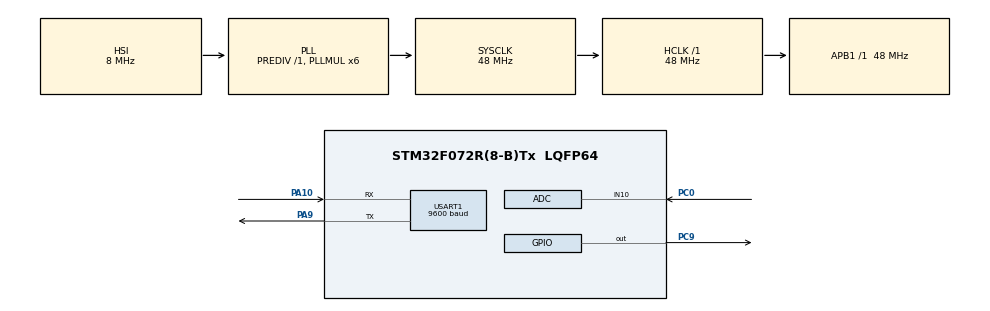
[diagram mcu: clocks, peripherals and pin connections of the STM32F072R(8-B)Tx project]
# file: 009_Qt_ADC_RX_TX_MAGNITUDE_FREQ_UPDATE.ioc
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ADC.ContinuousConvMode=ENABLE
ADC.DMAContinuousRequests=ENABLE
ADC.SamplingTime=ADC_SAMPLETIME_71CYCLES_5
Dma.ADC.0.Direction=DMA_PERIPH_TO_MEMORY
Dma.ADC.0.Instance=DMA1_Channel1
Dma.ADC.0.MemDataAlignment=DMA_MDATAALIGN_HALFWORD
Dma.ADC.0.MemInc=DMA_MINC_ENABLE
Dma.ADC.0.Mode=DMA_CIRCULAR
Dma.ADC.0.PeriphDataAlignment=DMA_PDATAALIGN_HALFWORD
Dma.ADC.0.PeriphInc=DMA_PINC_DISABLE
Dma.ADC.0.Priority=DMA_PRIORITY_LOW
Dma.Request0=ADC
Mcu.Family=STM32F0
Mcu.Name=STM32F072R(8-B)Tx
Mcu.Package=LQFP64
NVIC.ADC1_COMP_IRQn=true\:2\:0\:true\:false\:true\:true\:true\:true
NVIC.DMA1_Channel1_IRQn=true\:0\:0\:true\:false\:true\:false\:true\:true
NVIC.TIM6_DAC_IRQn=true\:0\:0\:false\:false\:true\:true\:true\:true
NVIC.USART1_IRQn=true\:1\:0\:true\:false\:true\:true\:true\:true
PA10.Mode=Asynchronous
PA10.Signal=USART1_RX
PA13.Mode=Serial_Wire
PA13.Signal=SYS_SWDIO
PA14.Mode=Serial_Wire
PA14.Signal=SYS_SWCLK
PA9.Mode=Asynchronous
PA9.Signal=USART1_TX
PC0.Mode=IN10
PC0.Signal=ADC_IN10
PC9.Signal=GPIO_Output
PF0-OSC_IN.Mode=HSE-External-Oscillator
PF0-OSC_IN.Signal=RCC_OSC_IN
PF1-OSC_OUT.Mode=HSE-External-Oscillator
PF1-OSC_OUT.Signal=RCC_OSC_OUT
ProjectManager.HeapSize=0x200
ProjectManager.StackSize=0x400
ProjectManager.TargetToolchain=STM32CubeIDE
RCC.AHBFreq_Value=48000000
RCC.APB1Freq_Value=48000000
RCC.APB1TimFreq_Value=48000000
RCC.HCLKFreq_Value=48000000
RCC.PLLMUL=RCC_PLL_MUL6
RCC.SYSCLKFreq_VALUE=48000000
RCC.SYSCLKSource=RCC_SYSCLKSOURCE_PLLCLK
TIM6.Period=47000
USART1.BaudRate=9600
USART1.VirtualMode-Asynchronous=VM_ASYNC
VP_TIM6_VS_ClockSourceINT.Mode=Enable_Timer
board=STM32F072B-DISCO

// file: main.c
/* USER CODE BEGIN Header */
/**
  ******************************************************************************
  * @file           : main.c
  * @brief          : Main program body
  ******************************************************************************
  * @attention
  *
  * Copyright (c) 2023 STMicroelectronics.
  * All rights reserved.
  *
  * This software is licensed under terms that can be found in the LICENSE file
  * in the root directory of this software component.
  * If no LICENSE file comes with this software, it is provided AS-IS.
  *
  ******************************************************************************
  */
/* USER CODE END Header */
#include "main.h"

/* USER CODE BEGIN Includes */
#include <stdio.h>
#include <string.h>
/* USER CODE END Includes */

ADC_HandleTypeDef hadc;
DMA_HandleTypeDef hdma_adc;

TIM_HandleTypeDef htim6;

UART_HandleTypeDef huart1;

/* USER CODE BEGIN PV */

#define ADC_MIN_VALUE 0
#define ADC_MAX_VALUE 4095
#define MAX_BUFFER_SIZE 50

uint16_t adcValue;
uint16_t adcBuffer[5];

uint8_t rx_buffer[MAX_BUFFER_SIZE];
uint8_t tx_buffer[MAX_BUFFER_SIZE];
uint8_t message[MAX_BUFFER_SIZE];

uint8_t rx_index = 0;
uint8_t uart1RxBuffer[1];
volatile uint8_t timeoutCounter = 0;

volatile uint8_t magnitude = 1;	// Magnitude value that is read from Rx
volatile float frequency = 1.0f;
float xData = 0.0f;
uint16_t yData;  // After ADC value is mapped and magnified by the received constant

/* USER CODE END PV */

void SystemClock_Config(void);
static void MX_GPIO_Init(void);
static void MX_DMA_Init(void);
static void MX_TIM6_Init(void);
static void MX_USART1_UART_Init(void);
static void MX_ADC_Init(void);

/* USER CODE BEGIN 0 */

// This function is used to map the adc values within the specified boundaries
uint16_t map(uint16_t inputValue, uint16_t inputMin, uint16_t inputMax, uint16_t outputMin, uint16_t outputMax)
{
  return (magnitude * (inputValue - inputMin) * (outputMax - outputMin + 1) / (inputMax - inputMin) + outputMin);
}

// Return 1 if rx_buffer is empty
int isRxEmpty() {
	for (int i = 0; i < sizeof(rx_buffer); i++) {
	    if (rx_buffer[i] != 0) {
	        return 0;
	    }
	}
	return 1;
}

// If timerCounter is done, it means we didnt receive any signal for 7byte time long
// (9600 baudrate, 1/9600 bit/s = 104µs) then we reset the rx_buffer
void resetRx(void)
{
	rx_index = 0;
	timeoutCounter = 0;

	if(isRxEmpty() == 0) {
		for(int i = 0; i<MAX_BUFFER_SIZE; i++) {
			message[i] = rx_buffer[i];
		}
	}

	for(int i = 0; i<MAX_BUFFER_SIZE; i++)
		rx_buffer[i] = 0;
}

void HAL_UART_RxCpltCallback(UART_HandleTypeDef *huart)
{

  if ( huart->Instance == USART1 )
   {
	 timeoutCounter = 0;
	 HAL_TIM_Base_Start_IT(&htim6);

	 HAL_UART_Receive_IT( &huart1, uart1RxBuffer, 1 );
	 rx_buffer[rx_index] = uart1RxBuffer[ 0 ];

	 // Coppies the rx to the message buffer so that when rx_buffer is deleted its contents are kept
	 message[rx_index] = rx_buffer[rx_index];
	 rx_index++;
   }
}

// Timer interrupt callback for received data timeout
void HAL_TIM_PeriodElapsedCallback(TIM_HandleTypeDef *htim)
{
	if(htim->Instance == TIM6) {

		if(timeoutCounter <= 60 && rx_index < MAX_BUFFER_SIZE)
			timeoutCounter++;
		else
			resetRx();
	}
}

void HAL_ADC_ConvCpltCallback(ADC_HandleTypeDef* hadc)
{
	adcValue = (adcBuffer[0] + adcBuffer[1] + adcBuffer[2] + adcBuffer[3] + adcBuffer[4])/5;
	yData = map(adcValue, ADC_MIN_VALUE, ADC_MAX_VALUE, 0, 100);
}

// The message is formatted as "timeConstant, magnitude"
// For example: 3, 5  --> Output: time steps become 0.3, and magnitude becomes 5 times larger
void Read_Message()
{
	sscanf((char*)message, "%f, %hu", &frequency, &magnitude);
}

/* USER CODE END 0 */

int main(void)
{

  /* MCU Configuration--------------------------------------------------------*/

  /* Reset of all peripherals, Initializes the Flash interface and the Systick. */
  HAL_Init();

  /* Configure the system clock */
  SystemClock_Config();

  /* Initialize all configured peripherals */
  MX_GPIO_Init();
  MX_DMA_Init();
  MX_TIM6_Init();
  MX_USART1_UART_Init();
  MX_ADC_Init();
  /* USER CODE BEGIN 2 */

  HAL_UART_Receive_IT( &huart1, uart1RxBuffer, 1 );
  HAL_ADC_Start_DMA(&hadc, (uint32_t*)&adcBuffer, 5);

  /* USER CODE END 2 */

  /* Infinite loop */
  while (1)
  {

    /* USER CODE BEGIN 3 */
	  Read_Message();
	  xData += (1 / frequency);
	  HAL_UART_Transmit(&huart1, (uint8_t*)&tx_buffer, sprintf(tx_buffer, "%.2f, %d\n", xData, yData), HAL_MAX_DELAY);
	  HAL_Delay((int) (1000/frequency));
  }
  /* USER CODE END 3 */
}

void SystemClock_Config(void)
{
  RCC_OscInitTypeDef RCC_OscInitStruct = {0};
  RCC_ClkInitTypeDef RCC_ClkInitStruct = {0};
  RCC_PeriphCLKInitTypeDef PeriphClkInit = {0};

  /** Initializes the RCC Oscillators according to the specified parameters
  * in the RCC_OscInitTypeDef structure.
  */
  RCC_OscInitStruct.OscillatorType = RCC_OSCILLATORTYPE_HSI|RCC_OSCILLATORTYPE_HSI14;
  RCC_OscInitStruct.HSIState = RCC_HSI_ON;
  RCC_OscInitStruct.HSI14State = RCC_HSI14_ON;
  RCC_OscInitStruct.HSICalibrationValue = RCC_HSICALIBRATION_DEFAULT;
  RCC_OscInitStruct.HSI14CalibrationValue = 16;
  RCC_OscInitStruct.PLL.PLLState = RCC_PLL_ON;
  RCC_OscInitStruct.PLL.PLLSource = RCC_PLLSOURCE_HSI;
  RCC_OscInitStruct.PLL.PLLMUL = RCC_PLL_MUL6;
  RCC_OscInitStruct.PLL.PREDIV = RCC_PREDIV_DIV1;
  if (HAL_RCC_OscConfig(&RCC_OscInitStruct) != HAL_OK)
  {
    Error_Handler();
  }

  /** Initializes the CPU, AHB and APB buses clocks
  */
  RCC_ClkInitStruct.ClockType = RCC_CLOCKTYPE_HCLK|RCC_CLOCKTYPE_SYSCLK
                              |RCC_CLOCKTYPE_PCLK1;
  RCC_ClkInitStruct.SYSCLKSource = RCC_SYSCLKSOURCE_PLLCLK;
  RCC_ClkInitStruct.AHBCLKDivider = RCC_SYSCLK_DIV1;
  RCC_ClkInitStruct.APB1CLKDivider = RCC_HCLK_DIV1;

  if (HAL_RCC_ClockConfig(&RCC_ClkInitStruct, FLASH_LATENCY_1) != HAL_OK)
  {
    Error_Handler();
  }
  PeriphClkInit.PeriphClockSelection = RCC_PERIPHCLK_USART1;
  PeriphClkInit.Usart1ClockSelection = RCC_USART1CLKSOURCE_PCLK1;
  if (HAL_RCCEx_PeriphCLKConfig(&PeriphClkInit) != HAL_OK)
  {
    Error_Handler();
  }
}

static void MX_ADC_Init(void)
{

  ADC_ChannelConfTypeDef sConfig = {0};

  /** Configure the global features of the ADC (Clock, Resolution, Data Alignment and number of conversion)
  */
  hadc.Instance = ADC1;
  hadc.Init.ClockPrescaler = ADC_CLOCK_ASYNC_DIV1;
  hadc.Init.Resolution = ADC_RESOLUTION_12B;
  hadc.Init.DataAlign = ADC_DATAALIGN_RIGHT;
  hadc.Init.ScanConvMode = ADC_SCAN_DIRECTION_FORWARD;
  hadc.Init.EOCSelection = ADC_EOC_SINGLE_CONV;
  hadc.Init.LowPowerAutoWait = DISABLE;
  hadc.Init.LowPowerAutoPowerOff = DISABLE;
  hadc.Init.ContinuousConvMode = ENABLE;
  hadc.Init.DiscontinuousConvMode = DISABLE;
  hadc.Init.ExternalTrigConv = ADC_SOFTWARE_START;
  hadc.Init.ExternalTrigConvEdge = ADC_EXTERNALTRIGCONVEDGE_NONE;
  hadc.Init.DMAContinuousRequests = ENABLE;
  hadc.Init.Overrun = ADC_OVR_DATA_PRESERVED;
  if (HAL_ADC_Init(&hadc) != HAL_OK)
  {
    Error_Handler();
  }

  /** Configure for the selected ADC regular channel to be converted.
  */
  sConfig.Channel = ADC_CHANNEL_10;
  sConfig.Rank = ADC_RANK_CHANNEL_NUMBER;
  sConfig.SamplingTime = ADC_SAMPLETIME_71CYCLES_5;
  if (HAL_ADC_ConfigChannel(&hadc, &sConfig) != HAL_OK)
  {
    Error_Handler();
  }
  /* USER CODE BEGIN ADC_Init 2 */
  HAL_NVIC_SetPriority(ADC1_IRQn, 0, 1);
  HAL_NVIC_EnableIRQ(ADC1_IRQn);
  /* USER CODE END ADC_Init 2 */

}

static void MX_TIM6_Init(void)
{

  TIM_MasterConfigTypeDef sMasterConfig = {0};

  htim6.Instance = TIM6;
  htim6.Init.Prescaler = 0;
  htim6.Init.CounterMode = TIM_COUNTERMODE_UP;
  htim6.Init.Period = 47000;
  htim6.Init.AutoReloadPreload = TIM_AUTORELOAD_PRELOAD_DISABLE;
  if (HAL_TIM_Base_Init(&htim6) != HAL_OK)
  {
    Error_Handler();
  }
  sMasterConfig.MasterOutputTrigger = TIM_TRGO_RESET;
  sMasterConfig.MasterSlaveMode = TIM_MASTERSLAVEMODE_DISABLE;
  if (HAL_TIMEx_MasterConfigSynchronization(&htim6, &sMasterConfig) != HAL_OK)
  {
    Error_Handler();
  }

}

static void MX_USART1_UART_Init(void)
{

  huart1.Instance = USART1;
  huart1.Init.BaudRate = 9600;
  huart1.Init.WordLength = UART_WORDLENGTH_8B;
  huart1.Init.StopBits = UART_STOPBITS_1;
  huart1.Init.Parity = UART_PARITY_NONE;
  huart1.Init.Mode = UART_MODE_TX_RX;
  huart1.Init.HwFlowCtl = UART_HWCONTROL_NONE;
  huart1.Init.OverSampling = UART_OVERSAMPLING_16;
  huart1.Init.OneBitSampling = UART_ONE_BIT_SAMPLE_DISABLE;
  huart1.AdvancedInit.AdvFeatureInit = UART_ADVFEATURE_NO_INIT;
  if (HAL_UART_Init(&huart1) != HAL_OK)
  {
    Error_Handler();
  }
  /* USER CODE BEGIN USART1_Init 2 */
  HAL_NVIC_SetPriority(USART1_IRQn, 3, 0);
  HAL_NVIC_EnableIRQ(USART1_IRQn);
  /* USER CODE END USART1_Init 2 */

}

static void MX_DMA_Init(void)
{

  /* DMA controller clock enable */
  __HAL_RCC_DMA1_CLK_ENABLE();

  /* DMA interrupt init */
  /* DMA1_Channel1_IRQn interrupt configuration */
  HAL_NVIC_SetPriority(DMA1_Channel1_IRQn, 0, 0);
  HAL_NVIC_EnableIRQ(DMA1_Channel1_IRQn);

}

static void MX_GPIO_Init(void)
{
  GPIO_InitTypeDef GPIO_InitStruct = {0};

  /* GPIO Ports Clock Enable */
  __HAL_RCC_GPIOF_CLK_ENABLE();
  __HAL_RCC_GPIOC_CLK_ENABLE();
  __HAL_RCC_GPIOA_CLK_ENABLE();

  /*Configure GPIO pin Output Level */
  HAL_GPIO_WritePin(GPIOC, GPIO_PIN_9, GPIO_PIN_RESET);

  /*Configure GPIO pin : PC9 */
  GPIO_InitStruct.Pin = GPIO_PIN_9;
  GPIO_InitStruct.Mode = GPIO_MODE_OUTPUT_PP;
  GPIO_InitStruct.Pull = GPIO_NOPULL;
  GPIO_InitStruct.Speed = GPIO_SPEED_FREQ_LOW;
  HAL_GPIO_Init(GPIOC, &GPIO_InitStruct);

}

void Error_Handler(void)
{
  __disable_irq();
  while (1)
  {
  }
}
